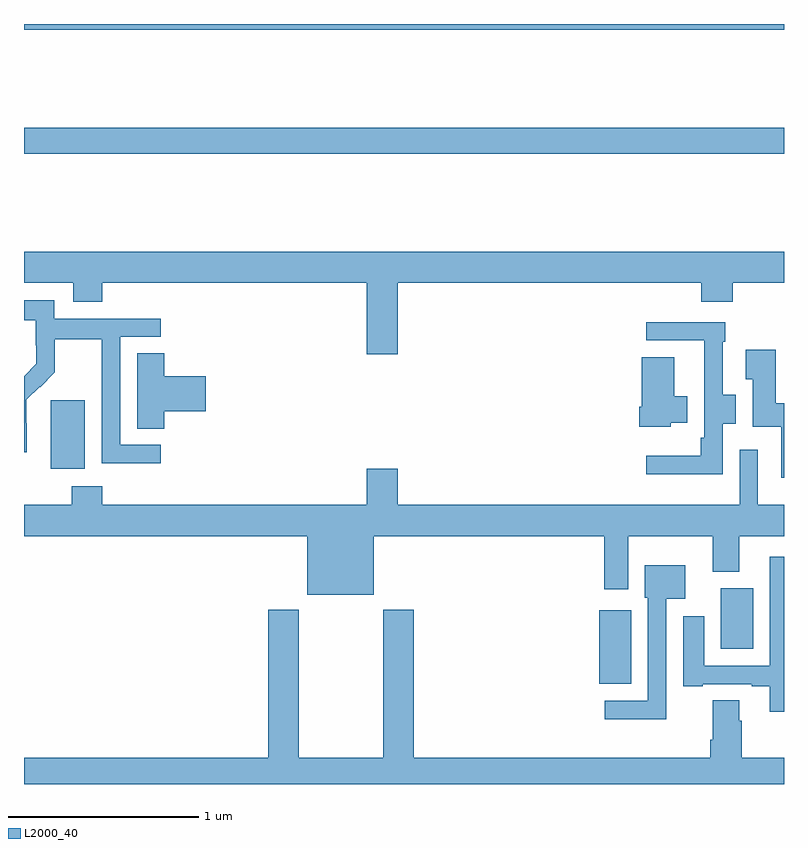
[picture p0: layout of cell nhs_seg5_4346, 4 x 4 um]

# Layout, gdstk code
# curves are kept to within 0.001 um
import gdstk
lib = gdstk.Library(unit=1e-6, precision=1e-09)
def R(c, l, rs):  # rectangles x0, y0, x1, y1
    for r in rs: c.add(gdstk.rectangle(r[:2], r[2:], *l))
def P(c, l, *ps):  # polygons
    for p in ps: c.add(gdstk.Polygon(p, *l))
L2000_40 = (2000, 40)

nhs_seg5_4346 = lib.new_cell('nhs_seg5_4346')
R(nhs_seg5_4346, L2000_40, [(370.028,845.327,370.195,845.713), (370.667,845.51,370.837,845.83), (367.142,846.458,367.321,846.819), (367,848.116,371,848.252), (367,848.768,371,848.799)])
P(nhs_seg5_4346, L2000_40, [(368.968,847.436),(370.565,847.436),(370.565,847.337),(370.73,847.337),(370.73,847.436),(371,847.436),(371,847.6),(367,847.6),(367,847.436),(367.259,847.436),(367.259,847.337),(367.412,847.337),(367.412,847.436),(368.804,847.436),(368.804,847.062),(368.968,847.062)],
  [(367.72,846.585),(367.506,846.585),(367.506,847.152),(367.72,847.152),(367.72,847.248),(367.158,847.248),(367.158,847.345),(367,847.345),(367,847.241),(367.062,847.241),(367.062,847.107),(367.064,847.107),(367.064,847.01),(367,846.946),(367,846.544),(367.014,846.544),(367.013,846.821),(367.083,846.891),(367.086,846.888),(367.163,846.965),(367.163,847.14),(367.408,847.14),(367.408,846.916),(367.41,846.916),(367.41,846.487),(367.72,846.487)],
  [(370.677,846.694),(370.747,846.694),(370.747,846.849),(370.677,846.849),(370.677,847.127),(370.69,847.127),(370.69,847.23),(370.275,847.23),(370.275,847.134),(370.58,847.134),(370.58,846.937),(370.581,846.937),(370.581,846.622),(370.561,846.622),(370.561,846.526),(370.275,846.526),(370.275,846.428),(370.677,846.428)],
  [(371,846.802),(370.957,846.802),(370.957,847.084),(370.799,847.084),(370.799,846.928),(370.835,846.928),(370.835,846.68),(370.986,846.68),(370.986,846.41),(371,846.41)],
  [(367.739,846.761),(367.957,846.761),(367.957,846.944),(367.739,846.944),(367.739,847.067),(367.595,847.067),(367.595,846.67),(367.739,846.67)],
  [(370.404,846.701),(370.492,846.701),(370.492,846.841),(370.423,846.841),(370.423,847.045),(370.25,847.045),(370.25,846.784),(370.238,846.784),(370.238,846.68),(370.404,846.68)],
  [(368.842,846.104),(370.055,846.104),(370.055,845.823),(370.18,845.823),(370.18,846.104),(370.625,846.104),(370.625,845.915),(370.765,845.915),(370.765,846.104),(371,846.104),(371,846.268),(370.863,846.268),(370.863,846.559),(370.767,846.559),(370.767,846.268),(368.968,846.268),(368.968,846.457),(368.804,846.457),(368.804,846.268),(367.412,846.268),(367.412,846.367),(367.252,846.367),(367.252,846.268),(367,846.268),(367,846.104),(368.492,846.104),(368.492,845.795),(368.842,845.795)],
  [(371,845.995),(370.926,845.995),(370.926,845.421),(370.579,845.421),(370.579,845.683),(370.469,845.683),(370.469,845.313),(370.573,845.313),(370.573,845.325),(370.829,845.325),(370.829,845.313),(370.925,845.313),(370.925,845.178),(371,845.178)],
  [(370.38,845.774),(370.48,845.774),(370.48,845.95),(370.268,845.95),(370.268,845.778),(370.284,845.778),(370.284,845.238),(370.056,845.238),(370.056,845.141),(370.38,845.141)],
  [(371,844.936),(370.778,844.936),(370.778,845.132),(370.765,845.132),(370.765,845.24),(370.625,845.24),(370.625,845.032),(370.613,845.032),(370.613,844.936),(369.05,844.936),(369.05,845.716),(368.89,845.716),(368.89,844.936),(368.445,844.936),(368.445,845.716),(368.285,845.716),(368.285,844.936),(367,844.936),(367,844.799),(371,844.799)])

lib.write_gds('nhs_seg5_4346.gds')
